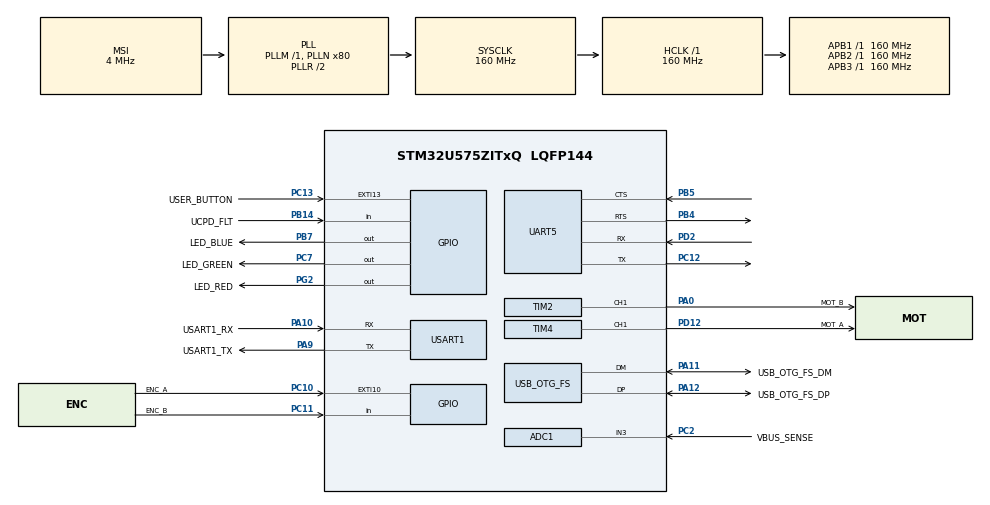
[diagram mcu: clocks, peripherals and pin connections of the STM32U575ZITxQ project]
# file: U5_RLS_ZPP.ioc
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ADC1.NbrOfConversion=1
ADC1.Resolution=ADC_RESOLUTION_14B
ADC1.master=1
CORTEX_M33_NS.userName=CORTEX_M33
Linkedlist.MDMA_Channel0.GP_SW.0.ADDRESSING2D=DISABLE
Linkedlist.MDMA_Channel0.GP_SW.0.BlkHWRequest=DMA_BREQ_SINGLE_BURST
Linkedlist.MDMA_Channel0.GP_SW.0.DataHandling=NONE
Linkedlist.MDMA_Channel0.GP_SW.0.DataSize=0
Linkedlist.MDMA_Channel0.GP_SW.0.DestBurstLength=1
Linkedlist.MDMA_Channel0.GP_SW.0.DestDataWidth=DMA_DEST_DATAWIDTH_BYTE
Linkedlist.MDMA_Channel0.GP_SW.0.DestInc=DMA_DINC_INCREMENTED
Linkedlist.MDMA_Channel0.GP_SW.0.Direction=DMA_MEMORY_TO_MEMORY
Linkedlist.MDMA_Channel0.GP_SW.0.DstAddress=0
Linkedlist.MDMA_Channel0.GP_SW.0.Instance=MDMA_Channel0
Linkedlist.MDMA_Channel0.GP_SW.0.LL_MASTERDMA=GPDMA2D
Linkedlist.MDMA_Channel0.GP_SW.0.LL_NAME=UART_Queue
Linkedlist.MDMA_Channel0.GP_SW.0.LL_TYPE=LINEAR
Linkedlist.MDMA_Channel0.GP_SW.0.NODE_NAME=UART_Node
Linkedlist.MDMA_Channel0.GP_SW.0.Requestforcodegen=DMA_REQUEST_SW
Linkedlist.MDMA_Channel0.GP_SW.0.SrcAddress=0
Linkedlist.MDMA_Channel0.GP_SW.0.SrcBurstLength=1
Linkedlist.MDMA_Channel0.GP_SW.0.SrcDataWidth=DMA_SRC_DATAWIDTH_BYTE
Linkedlist.MDMA_Channel0.GP_SW.0.SrcInc=DMA_SINC_INCREMENTED
Linkedlist.MDMA_Channel0.GP_SW.0.TransferAllocatedPortSrc=DMA_SRC_ALLOCATED_PORT0
Linkedlist.MDMA_Channel0.GP_SW.0.TransferEventMode=DMA_TCEM_BLOCK_TRANSFER
Linkedlist.MDMA_Channel0.GP_SW.0.TriggerPolarity=DMA_TRIG_POLARITY_MASKED
Linkedlist.MDMA_Channel0.Request0=GP_SW
Linkedlist.MDMA_Channel0.RequestsNb=1
Linkedlist.RequestSet0=MDMA_Channel0
Linkedlist.RequestSetsNb=1
Mcu.Family=STM32U5
Mcu.Name=STM32U575ZITxQ
Mcu.Package=LQFP144
NVIC.EXTI10_IRQn=true\:1\:0\:true\:false\:true\:true\:true\:true
NVIC.EXTI13_IRQn=true\:5\:0\:true\:false\:true\:true\:true\:true
NVIC.PriorityGroup=NVIC_PRIORITYGROUP_3
NVIC.TIM3_IRQn=true\:5\:0\:true\:false\:true\:true\:true\:true
NVIC.TIM5_IRQn=true\:0\:0\:false\:false\:true\:true\:true\:true
NVIC.UART5_IRQn=true\:0\:0\:false\:false\:true\:true\:true\:true
PA0.GPIO_Label=MOT_B
PA0.GPIO_PuPd=GPIO_PULLUP
PA0.Signal=S_TIM2_CH1
PA10.GPIO_Label=USART1_RX
PA10.GPIO_PuPd=GPIO_PULLDOWN
PA10.GPIO_Speed=GPIO_SPEED_FREQ_VERY_HIGH
PA10.Mode=Asynchronous
PA10.Signal=USART1_RX
PA11.GPIO_Label=USB_OTG_FS_DM
PA11.GPIO_Speed=GPIO_SPEED_FREQ_VERY_HIGH
PA11.Mode=Device_Only
PA11.Signal=USB_OTG_FS_DM
PA12.GPIO_Label=USB_OTG_FS_DP
PA12.GPIO_Speed=GPIO_SPEED_FREQ_VERY_HIGH
PA12.Mode=Device_Only
PA12.Signal=USB_OTG_FS_DP
PA13\ (JTMS/SWDIO).Mode=Trace_Asynchronous_SW
PA13\ (JTMS/SWDIO).Signal=DEBUG_JTMS-SWDIO
PA14\ (JTCK/SWCLK).Mode=Trace_Asynchronous_SW
PA14\ (JTCK/SWCLK).Signal=DEBUG_JTCK-SWCLK
PA15\ (JTDI).GPIO_Label=UCPD1_CC1
PA15\ (JTDI).Signal=UCPD1_CC1
PA9.GPIO_Label=USART1_TX
PA9.GPIO_PuPd=GPIO_PULLDOWN
PA9.GPIO_Speed=GPIO_SPEED_FREQ_VERY_HIGH
PA9.Mode=Asynchronous
PA9.Signal=USART1_TX
PB14.GPIO_Label=UCPD_FLT
PB14.Signal=GPIO_Input
PB15.GPIO_Label=UCPD1_CC2
PB15.Signal=UCPD1_CC2
PB3\ (JTDO/TRACESWO).Mode=Trace_Asynchronous_SW
PB3\ (JTDO/TRACESWO).Signal=DEBUG_JTDO-SWO
PB4\ (NJTRST).GPIO_Speed=GPIO_SPEED_FREQ_HIGH
PB4\ (NJTRST).Mode=CTS_RTS
PB4\ (NJTRST).Signal=UART5_RTS
PB5.GPIO_Speed=GPIO_SPEED_FREQ_HIGH
PB5.Mode=CTS_RTS
PB5.Signal=UART5_CTS
PB7.GPIO_Label=LED_BLUE
PB7.GPIO_ModeDefaultOutputPP=GPIO_MODE_OUTPUT_PP
PB7.GPIO_PuPd=GPIO_PULLUP
PB7.GPIO_Speed=GPIO_SPEED_FREQ_HIGH
PB7.Signal=GPIO_Output
PC10.GPIO_Label=ENC_A
PC10.GPIO_ModeDefaultEXTI=GPIO_MODE_IT_RISING
PC10.GPIO_PuPd=GPIO_PULLDOWN
PC10.Signal=GPXTI10
PC11.GPIO_Label=ENC_B
PC11.Signal=GPIO_Input
PC12.GPIO_Speed=GPIO_SPEED_FREQ_HIGH
PC12.Mode=Asynchronous
PC12.Signal=UART5_TX
PC13.GPIO_Label=USER_BUTTON
PC13.GPIO_ModeDefaultEXTI=GPIO_MODE_IT_FALLING
PC13.Signal=GPXTI13
PC14-OSC32_IN\ (PC14).Mode=LSE-External-Oscillator
PC14-OSC32_IN\ (PC14).Signal=RCC_OSC32_IN
PC15-OSC32_OUT\ (PC15).Mode=LSE-External-Oscillator
PC15-OSC32_OUT\ (PC15).Signal=RCC_OSC32_OUT
PC2.GPIO_Label=VBUS_SENSE
PC2.Mode=IN3-Single-Ended
PC2.Signal=ADC1_IN3
PC7.GPIO_Label=LED_GREEN
PC7.GPIO_PuPd=GPIO_PULLUP
PC7.GPIO_Speed=GPIO_SPEED_FREQ_HIGH
PC7.Signal=GPIO_Output
PD12.GPIO_Label=MOT_A
PD12.GPIO_PuPd=GPIO_PULLUP
PD12.GPIO_Speed=GPIO_SPEED_FREQ_HIGH
PD12.Signal=S_TIM4_CH1
PD2.GPIO_Speed=GPIO_SPEED_FREQ_HIGH
PD2.Mode=Asynchronous
PD2.Signal=UART5_RX
PG2.GPIO_Label=LED_RED
PG2.GPIO_ModeDefaultOutputPP=GPIO_MODE_OUTPUT_PP
PG2.GPIO_PuPd=GPIO_PULLUP
PG2.GPIO_Speed=GPIO_SPEED_FREQ_HIGH
PG2.Signal=GPIO_Output
PWR.PowerMode=PWR_SMPS_SUPPLY
ProjectManager.HeapSize=0x200
ProjectManager.StackSize=0x400
ProjectManager.TargetToolchain=STM32CubeIDE
RCC.ADCFreq_Value=16000000
RCC.AHBFreq_Value=160000000
RCC.APB1Freq_Value=160000000
RCC.APB1TimFreq_Value=160000000
RCC.APB2Freq_Value=160000000
RCC.APB2TimFreq_Value=160000000
RCC.APB3Freq_Value=160000000
RCC.CortexFreq_Value=160000000
RCC.DACCLockSelectionVirtual=RCC_DAC1CLKSOURCE_LSI
RCC.DACCLockSelectionVirtualString=RCC_DAC1CLKSOURCE_LSI
RCC.EPOD_VALUE=4000000
RCC.HCLKFreq_Value=160000000
RCC.HSE_VALUE=16000000
RCC.HSI48_VALUE=48000000
RCC.HSI_VALUE=16000000
RCC.LSIDIV_VALUE=32000
RCC.MSI_VALUE=4000000
RCC.PLLN=80
RCC.SYSCLKFreq_VALUE=160000000
RCC.SYSCLKSource=RCC_SYSCLKSOURCE_PLLCLK
RCC.USBFreq_Value=48000000
RCC.VCOOutputFreq_Value=320000000
SH.S_TIM2_CH1.0=TIM2_CH1,PWM Generation1 CH1
SH.S_TIM4_CH1.0=TIM4_CH1,PWM Generation1 CH1
TIM15.AutoReloadPreload=TIM_AUTORELOAD_PRELOAD_ENABLE
TIM15.Channel-Output\ Compare1\ No\ Output=TIM_CHANNEL_1
TIM2.AutoReloadPreload=TIM_AUTORELOAD_PRELOAD_ENABLE
TIM2.Channel-PWM\ Generation1\ CH1=TIM_CHANNEL_1
TIM2.OCFastMode_PWM-PWM\ Generation1\ CH1=TIM_OCFAST_ENABLE
TIM2.PeriodNoDither=159999
TIM3.AutoReloadPreload=TIM_AUTORELOAD_PRELOAD_ENABLE
TIM3.Channel-Output\ Compare1\ No\ Output=TIM_CHANNEL_1
TIM3.PeriodNoDither=2559999
TIM3.Prescaler=0
TIM4.AutoReloadPreload=TIM_AUTORELOAD_PRELOAD_ENABLE
TIM4.Channel-PWM\ Generation1\ CH1=TIM_CHANNEL_1
TIM4.PeriodNoDither=159999
TIM5.Channel-Output\ Compare1\ No\ Output=TIM_CHANNEL_1
TIM5.PeriodNoDither=1599
UART5.Parity=PARITY_NONE
USART1.VirtualMode-Asynchronous=VM_ASYNC
USB_OTG_FS.VirtualMode=Device_Only
VP_ICACHE_VS_ICACHE.Mode=DirectMappedCache
VP_LPBAMQUEUE_VS_QUEUE.Mode=QUEUEMODE
VP_LPBAM_VS_SIG1.Mode=SmartRun
VP_LPBAM_VS_SIG4.Mode=LPDMA1
VP_PWR_VS_DBSignals.Mode=DisableDeadBatterySignals
VP_PWR_VS_LPOM.Mode=PowerOptimisation
VP_PWR_VS_SECSignals.Mode=Security/Privilege
VP_TIM15_VS_no_output1.Mode=Output Compare1 No Output
VP_TIM2_VS_ClockSourceINT.Mode=Internal
VP_TIM3_VS_ClockSourceINT.Mode=Internal
VP_TIM3_VS_no_output1.Mode=Output Compare1 No Output
VP_TIM4_VS_ClockSourceINT.Mode=Internal
VP_TIM5_VS_ClockSourceINT.Mode=Internal
VP_TIM5_VS_no_output1.Mode=Output Compare1 No Output
board=NUCLEO-U575ZI-Q

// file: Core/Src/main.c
/* USER CODE BEGIN Header */
/**
  ******************************************************************************
  * @file           : main.c
  * @brief          : Main program body
  ******************************************************************************
  * @attention
  *
  * Copyright (c) 2024 STMicroelectronics.
  * All rights reserved.
  *
  * This software is licensed under terms that can be found in the LICENSE file
  * in the root directory of this software component.
  * If no LICENSE file comes with this software, it is provided AS-IS.
  *
  ******************************************************************************
  */
/* USER CODE END Header */
#include "main.h"
#include "adc.h"
#include "icache.h"
#include "tim.h"
#include "usart.h"
#include "usb_otg.h"
#include "gpio.h"

/* USER CODE BEGIN Includes */
#include "time.h"
#include "string.h"
/* USER CODE END Includes */

/* USER CODE BEGIN PTD */

typedef struct
{
	uint8_t StartByte;
	uint8_t Data[4u];
	uint8_t StopByte;
} UART_DATA_S_T;

/* USER CODE END PTD */

/* USER CODE BEGIN PD */

/* UART defines */
#define UART_START_BYTE		0x02u
#define	UART_STOP_BYTE		0x03u

/* Timer defines */
#define	SAMPLE_TIMER		TIM3
#define PWM1_TIMER			TIM2
#define PWM2_TIMER			TIM4
#define PWM_MAX_FILL		159999

/* Encoder defines */
#define SAMPLE_TIME_SEC				0.007
#define IMPULSES_PER_ROTATION		150
#define DELTA_POSITION				(double)((double)360/(double)IMPULSES_PER_ROTATION)

/* USER CODE END PD */

/* USER CODE BEGIN PV */
static uint8_t s_SampleNow = 0x00u;
static int s_PosDiffImpulses = 0;
static long int s_CurrentRpm = 0;
static long int s_HighestRpm = 0;
static long int s_LowestRpm = 0;
static int s_LastControlValue = 0;
static int s_ControlValue = 0;

static long int s_HighestControlValue = 0;
static long int s_LowestControlValue = 0;

static int s_RotDir;
static int s_ZeroCounter = 0x00u;
static int s_LastSentImpulseTime = 0x00u;
static uint32_t s_LastImpTime;
static uint32_t s_CurrentImpTime;
static uint32_t s_ImpTimeDiff = 0u;

static uint32_t s_HighestImpTimeDiff;
static uint32_t s_LowestImpTimeDiff;

#ifdef DEBUG
static uint32_t s_LongestSampleTime = 0x00000000u;
static uint32_t s_ShortestSampleTime = 0xFFFFFFFFu;
static uint32_t s_LastSampleTime = 0x00u;
static uint32_t s_TimeSinceLastSample = 0x00u;
volatile static uint32_t s_TooHighRpmCnt = 0x00u;
volatile static uint32_t s_TooLowRpmCnt = 0x00u;
#endif

volatile static uint8_t s_StartMotor = 0x00u;

volatile uint32_t DebugVar = 0u;
volatile uint8_t DebugIdx = 0u;

UART_DATA_S_T UartRxData;
UART_DATA_S_T UartTxData;

/* USER CODE END PV */

void SystemClock_Config(void);
static void SystemPower_Config(void);
/* USER CODE BEGIN PFP */

uint32_t getTimeMicrosec();

/* USER CODE END PFP */

int main(void)
{
  /* USER CODE BEGIN 1 */
	uint32_t TmpReg;
	uint8_t IsDataValid = 0u;
	uint32_t SampleCurrentTime;
  /* USER CODE END 1 */

  /* MCU Configuration--------------------------------------------------------*/

  /* Reset of all peripherals, Initializes the Flash interface and the Systick. */
  HAL_Init();

  /* Configure the system clock */
  SystemClock_Config();

  /* Configure the System Power */
  SystemPower_Config();

  /* Initialize all configured peripherals */
  MX_GPIO_Init();
  MX_USART1_UART_Init();
  MX_USB_OTG_FS_PCD_Init();
  MX_UART5_Init();
  MX_TIM3_Init();
  MX_TIM4_Init();
  MX_ADC1_Init();
  MX_ICACHE_Init();
  MX_TIM2_Init();
  MX_TIM15_Init();
  MX_TIM5_Init();
  /* USER CODE BEGIN 2 */

  HAL_TIM_Base_Start_IT(&htim3);
  HAL_TIM_PWM_Start(&htim2, TIM_CHANNEL_1);
  HAL_TIM_PWM_Start(&htim4, TIM_CHANNEL_1);

  PWM2_TIMER->CCR1 = 0;
  PWM1_TIMER->CCR1 = 0;

  /* USER CODE END 2 */

  /* Infinite loop */
  /* USER CODE BEGIN WHILE */
  s_LastSampleTime = HAL_GetTick();
  UartTxData.StartByte = 0x02u;
  UartTxData.StopByte = 0x03u;
  s_LastImpTime = getTimeMicrosec();
  s_CurrentImpTime = getTimeMicrosec();
  while (1)
  {
	//HAL_UART_Receive_IT(/*huart=*/&huart1, /*pData=*/, /*Size=*/);
	//HAL_StatusTypeDef HAL_UART_Transmit_IT(/*huart=*/, /*pData*/, /*Size=*/);
    /* USER CODE END WHILE */

    /* USER CODE BEGIN 3 */
	if (0x00u != s_SampleNow)
	{
		s_SampleNow = 0x00u;

#ifdef DEBUG
		s_TimeSinceLastSample = HAL_GetTick() - s_LastSampleTime;
		s_LastSampleTime = HAL_GetTick();
		if (s_TimeSinceLastSample > s_LongestSampleTime)
		{
			s_LongestSampleTime = s_TimeSinceLastSample;
		}
		if (s_TimeSinceLastSample < s_ShortestSampleTime)
		{
			s_ShortestSampleTime = s_TimeSinceLastSample;
		}
#endif

		if (s_LastSentImpulseTime == s_CurrentImpTime)
		{
			/* No impulse occured since last sample time */
			s_ZeroCounter++;
		}
		else
		{
			s_LastSentImpulseTime = s_CurrentImpTime;
			s_ZeroCounter = 0u;
		}

		if (100u < s_ZeroCounter)
		{
			/* 100 times the freq time passed without impulse */
			s_ZeroCounter = 0u;
			s_RotDir = 0u;
		}

		/* Calculate momentary RPM */
		if (0 != s_RotDir)
		{
			SampleCurrentTime = getTimeMicrosec();
			if (((SampleCurrentTime - s_CurrentImpTime) > (s_CurrentImpTime - s_LastImpTime))  && ((2u < s_ZeroCounter)))
			{
				/* Speed it close to 0rpm but might not be quite 0 */
				s_ImpTimeDiff = SampleCurrentTime - s_LastImpTime;
			}

			if (0u != s_ImpTimeDiff)
			{
				s_CurrentRpm = (long int)((double)100*(double)1000000/(double)s_ImpTimeDiff); // Impulses/second
				s_CurrentRpm = (long int)((double)((double)60*(double)s_CurrentRpm)/(double)180);
			}
			else
			{
				s_CurrentRpm = 0;
			}
		}
		else
		{
			s_CurrentRpm = 0;
		}

		if(-1 == s_RotDir)
		{
			s_CurrentRpm = -1*s_CurrentRpm;
		}

#ifdef DEBUG
		if (s_CurrentRpm > s_HighestRpm)
		{
			s_HighestRpm = s_CurrentRpm;
			s_HighestImpTimeDiff = s_ImpTimeDiff;
		}
		if (s_CurrentRpm < s_LowestRpm)
		{
			s_LowestRpm = s_CurrentRpm;
			s_LowestImpTimeDiff = s_ImpTimeDiff;
		}

		if (s_CurrentRpm > 18354838)
		{
			s_TooHighRpmCnt++;
		}
		if (s_CurrentRpm < -18354838)
		{
			s_TooLowRpmCnt++;
		}

#endif

		memcpy(UartTxData.Data, &s_CurrentRpm, sizeof(s_CurrentRpm));

		/* Send Current position through UART */
		HAL_UART_Transmit(/*huart=*/&huart5,
							/*pData*/(uint8_t*)&UartTxData,
							/*Size=*/sizeof(UART_DATA_S_T),//<- 6 bytes
							/*Timeout=*/100);
		s_PosDiffImpulses = 0;

		/* Wait for response about U */
		HAL_UART_Receive_IT(/*huart=*/&huart5,
							/*pData*/(uint8_t*)&UartRxData,
							/*Size=*/sizeof(UART_DATA_S_T)); //<- 6 bytes

		/* Detect if data is valid (first 2 bits are always 0)
		 * and ignore values outside range (need software limiting at matlab)
		 */
		IsDataValid = 0u;
		if ((0x02u == UartRxData.StartByte) &&
				(0x03u == UartRxData.StopByte))
		{
			memcpy(&s_ControlValue, UartRxData.Data, sizeof(s_ControlValue));

#ifdef DEBUG
			if (s_ControlValue > s_HighestControlValue)
			{
				s_HighestControlValue = s_ControlValue;
			}
			if (s_ControlValue < s_LowestControlValue)
			{
				s_LowestControlValue = s_ControlValue;
			}
#endif

			if ((s_ControlValue <= 10000) &&
					(s_ControlValue >= -10000))
			{
				IsDataValid = 1u;
			}
		}

		if (1u == IsDataValid)
		{
			if (s_LastControlValue != s_ControlValue)
			{
				//s_ControlValue = 0.3*s_ControlValue + 0.7*s_LastControlValue;
				/* Set control */
				if (s_ControlValue > 0)
				{
					TmpReg = (uint32_t)s_ControlValue;
					TmpReg = (TmpReg * PWM_MAX_FILL) / 10000;
					PWM1_TIMER->CCR1 = TmpReg; //(PWM_MAX_FILL/4);
					PWM2_TIMER->CCR1 = 0;
				}
				else if (s_ControlValue < 0)
				{
					TmpReg = (uint32_t)(-s_ControlValue);
					TmpReg = (TmpReg * PWM_MAX_FILL) / 10000;
					PWM1_TIMER->CCR1 = 0;
					PWM2_TIMER->CCR1 = TmpReg;
				}
				else
				{
					PWM1_TIMER->CCR1 = 0;
					PWM2_TIMER->CCR1 = 0;
				}

				s_LastControlValue = s_ControlValue;
			}

		}
	}
  }
  /* USER CODE END 3 */
}

void SystemClock_Config(void)
{
  RCC_OscInitTypeDef RCC_OscInitStruct = {0};
  RCC_ClkInitTypeDef RCC_ClkInitStruct = {0};

  /** Configure the main internal regulator output voltage
  */
  if (HAL_PWREx_ControlVoltageScaling(PWR_REGULATOR_VOLTAGE_SCALE1) != HAL_OK)
  {
    Error_Handler();
  }

  /** Initializes the CPU, AHB and APB buses clocks
  */
  RCC_OscInitStruct.OscillatorType = RCC_OSCILLATORTYPE_HSI48|RCC_OSCILLATORTYPE_HSI
                              |RCC_OSCILLATORTYPE_MSI;
  RCC_OscInitStruct.HSIState = RCC_HSI_ON;
  RCC_OscInitStruct.HSI48State = RCC_HSI48_ON;
  RCC_OscInitStruct.HSICalibrationValue = RCC_HSICALIBRATION_DEFAULT;
  RCC_OscInitStruct.MSIState = RCC_MSI_ON;
  RCC_OscInitStruct.MSICalibrationValue = RCC_MSICALIBRATION_DEFAULT;
  RCC_OscInitStruct.MSIClockRange = RCC_MSIRANGE_4;
  RCC_OscInitStruct.PLL.PLLState = RCC_PLL_ON;
  RCC_OscInitStruct.PLL.PLLSource = RCC_PLLSOURCE_MSI;
  RCC_OscInitStruct.PLL.PLLMBOOST = RCC_PLLMBOOST_DIV1;
  RCC_OscInitStruct.PLL.PLLM = 1;
  RCC_OscInitStruct.PLL.PLLN = 80;
  RCC_OscInitStruct.PLL.PLLP = 2;
  RCC_OscInitStruct.PLL.PLLQ = 2;
  RCC_OscInitStruct.PLL.PLLR = 2;
  RCC_OscInitStruct.PLL.PLLRGE = RCC_PLLVCIRANGE_0;
  RCC_OscInitStruct.PLL.PLLFRACN = 0;
  if (HAL_RCC_OscConfig(&RCC_OscInitStruct) != HAL_OK)
  {
    Error_Handler();
  }

  /** Initializes the CPU, AHB and APB buses clocks
  */
  RCC_ClkInitStruct.ClockType = RCC_CLOCKTYPE_HCLK|RCC_CLOCKTYPE_SYSCLK
                              |RCC_CLOCKTYPE_PCLK1|RCC_CLOCKTYPE_PCLK2
                              |RCC_CLOCKTYPE_PCLK3;
  RCC_ClkInitStruct.SYSCLKSource = RCC_SYSCLKSOURCE_PLLCLK;
  RCC_ClkInitStruct.AHBCLKDivider = RCC_SYSCLK_DIV1;
  RCC_ClkInitStruct.APB1CLKDivider = RCC_HCLK_DIV1;
  RCC_ClkInitStruct.APB2CLKDivider = RCC_HCLK_DIV1;
  RCC_ClkInitStruct.APB3CLKDivider = RCC_HCLK_DIV1;

  if (HAL_RCC_ClockConfig(&RCC_ClkInitStruct, FLASH_LATENCY_4) != HAL_OK)
  {
    Error_Handler();
  }
}

/**
  * @brief Power Configuration
  * @retval None
  */
static void SystemPower_Config(void)
{
  HAL_PWREx_EnableVddIO2();

  /*
   * Disable the internal Pull-Up in Dead Battery pins of UCPD peripheral
   */
  HAL_PWREx_DisableUCPDDeadBattery();

  /*
   * Switch to SMPS regulator instead of LDO
   */
  if (HAL_PWREx_ConfigSupply(PWR_SMPS_SUPPLY) != HAL_OK)
  {
    Error_Handler();
  }
}

/* USER CODE BEGIN 4 */

void HAL_TIM_PeriodElapsedCallback(TIM_HandleTypeDef *htim)
{
	/* 10ms -> sample time */
	if (SAMPLE_TIMER == htim->Instance)
	{
		s_SampleNow = 1u;
	}
	else
	{
		/* Do nothing */
	}
}

void HAL_GPIO_EXTI_Rising_Callback(uint16_t GPIO_Pin)
{
	GPIO_PinState EncAState;
	GPIO_PinState EncBState;

	if (ENC_A_Pin == GPIO_Pin)
	{
		EncAState = GPIO_PIN_SET;
		EncBState = HAL_GPIO_ReadPin(/*GPIOx=*/ENC_B_GPIO_Port,
										/*GPIO_Pin=*/ENC_B_Pin);

		if (EncAState == EncBState)
		{
			s_RotDir = 1;
		}
		else
		{
			s_RotDir = -1;
		}

		s_LastImpTime = s_CurrentImpTime;
		s_CurrentImpTime = getTimeMicrosec();
		s_ImpTimeDiff = s_CurrentImpTime - s_LastImpTime;

	}
}

void HAL_GPIO_EXTI_Falling_Callback(uint16_t GPIO_Pin)
{
	GPIO_PinState EncAState;
	GPIO_PinState EncBState;
	uint32_t TmpCurrentTime;

	if (ENC_A_Pin == GPIO_Pin)
	{
		EncAState = GPIO_PIN_RESET;
		EncBState =  HAL_GPIO_ReadPin(/*GPIOx=*/ENC_B_GPIO_Port,
										/*GPIO_Pin=*/ENC_B_Pin);

		if (EncAState == EncBState)
		{
			s_RotDir = 1;
		}
		else
		{
			s_RotDir = -1;
		}

		s_LastImpTime = s_CurrentImpTime;
		s_CurrentImpTime = getTimeMicrosec();
		s_ImpTimeDiff = s_CurrentImpTime - s_LastImpTime;
	}
	else if (USER_BUTTON_Pin == GPIO_Pin)
	{
		/* Stop motor */
		s_ControlValue = 0;
		PWM1_TIMER->CCR1 =  (5000 * PWM_MAX_FILL) / 10000;
		PWM2_TIMER->CCR1 = 0;
	}
}

uint32_t getTimeMicrosec()
{
	uint32_t ms = HAL_GetTick();
	uint32_t st = SysTick->VAL;

	// Did UptimeMillis rollover while reading SysTick->VAL?
	if (ms != HAL_GetTick())
	{
		// Rollover occurred so read both again.
		// Must read both because we don't know whether the
		// rollover occurred before or after reading SysTick->VAL.
		// No need to check for another rollover because there is
		// no chance of another rollover occurring so quickly.
		ms = HAL_GetTick();
		st = SysTick->VAL;
	}

	return ms * 1000 - st / ((SysTick->LOAD + 1) / 1000);
}

/* USER CODE END 4 */

void Error_Handler(void)
{
  __disable_irq();
  while (1)
  {
  }
}
